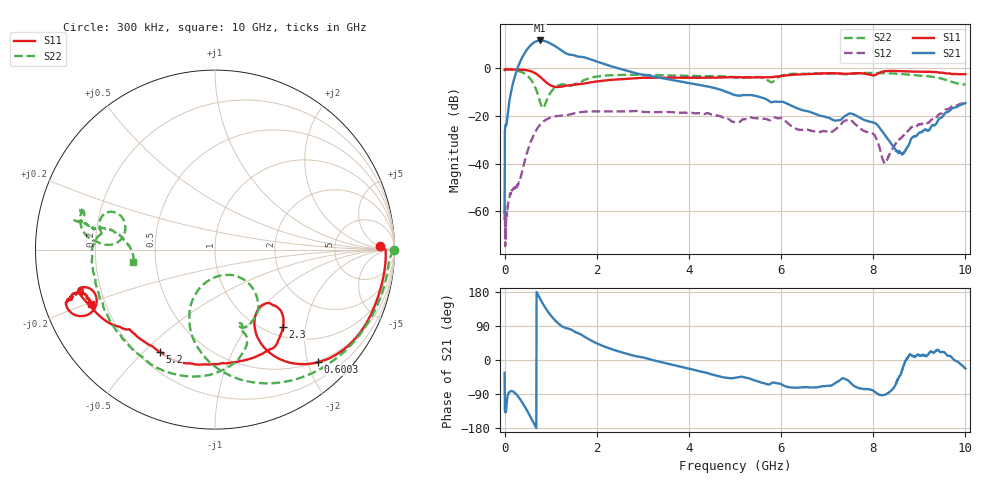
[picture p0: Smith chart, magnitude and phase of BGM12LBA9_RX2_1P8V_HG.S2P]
!Agilent Technologies,E5071C,MY46316587,B.13.01
!Date: Tue Sep 12 11:09:20 2017
!Data & Calibration Information:
!Freq	S11:SOLT2(ON)	S21:SOLT2(ON)	S12:SOLT2(ON)	S22:SOLT2(ON)
!PortZ  Port1:50+j0  Port2:50+j0
!Above PortZ is port z conversion or system Z0 setting when saving the data.
!When reading, reference impedance value at option line is always used.
# Hz S RI R 50
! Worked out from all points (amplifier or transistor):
!   1601 points, 300 kHz to 10 GHz, reference 50 ohm
!   highest |S21| = 11.7 dB at 775.3 MHz (marker M1)
!   |S21| within 3 dB of that: 519.3 MHz to 1.146 GHz (626.4 MHz wide, 75.2 % of centre)
!   unconditionally stable (mu >= 1): start of sweep to end of sweep
!   at 1.663 GHz: K = 1.61, MAG = 7.0 dB, |S12| = -18.3 dB
!   at 5 GHz: K = 8.42, MAG = -6.6 dB, |S12| = -22.5 dB
!   at 10 GHz: K = 4.63, MAG = -9.7 dB, |S12| = -14.4 dB
!   lowest NFmin = 0.67 dB at 900 MHz
!   S11 on the Smith chart (normalised r, x): 300 kHz: 23, +6; 600.3 MHz: 0.48, -2.18; 2.3 GHz: 1.18, -1.51; 5.2 GHz: 0.28, -0.56; 10 GHz: 0.14, -0.21
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300000  0.921 0.0216  0.000776 -0.000515  0.000249 -0.000621  0.9963 -0.00146
5.654831e7  0.9504 -0.0639  -0.0172 -0.087  -0.000251 0.00101  0.9532 -0.1622
1.315461e8  0.9382 -0.15  0.0376 -0.2887  3.89e-05 0.00226  0.8826 -0.3551
3.190404e8  0.8695 -0.36  -0.2272 -1.234  -0.00307 0.00265  0.5242 -0.6958
4.752858e8  0.7459 -0.5325  -1.566 -1.826  -0.0148 0.00476  0.1191 -0.7164
6.00282e8  0.5745 -0.6279  -3.058 -1.193  -0.0299 0.0168  -0.1127 -0.5162
6.877794e8  0.4321 -0.6332  -3.703 -0.0384  -0.0371 0.0346  -0.1382 -0.3234
7.752768e8  0.3117 -0.5804  -3.633 1.293  -0.0356 0.0562  -0.0511 -0.1828
8.940232e8  0.2284 -0.4673  -2.648 2.559  -0.0202 0.0809  0.1199 -0.1482
1.01277e9  0.2245 -0.3706  -1.427 2.926  0.00215 0.0939  0.2232 -0.2381
1.244013e9  0.2885 -0.2981  0.0435 2.359  0.038 0.0955  0.186 -0.4252
1.669e9  0.3469 -0.3207  0.6876 1.602  0.081 0.0904  0.1784 -0.4915
2.300231e9  0.3794 -0.4299  0.9724 0.5545  0.1145 0.05  -0.1179 -0.7073
3.3377e9  0.2739 -0.5744  0.6442 -0.0431  0.1209 0.00278  -0.4834 -0.5299
5.00015e9  -0.223 -0.6169  0.1875 -0.2011  0.0681 -0.0304  -0.6393 0.0835
5.200144e9  -0.309 -0.5695  0.193 -0.1977  0.0811 -0.0258  -0.6311 0.0932
6.66885e9  -0.7081 -0.3009  0.0354 -0.1125  0.0419 -0.0252  -0.7491 0.2122
7.493825e9  -0.741 -0.2375  0.0587 -0.0969  0.0718 -0.0419  -0.7402 0.1663
8.237553e9  -0.7923 -0.3582  -0.00146 -0.042  0.00962 -0.00463  -0.776 0.1618
8.33755e9  -0.8193 -0.332  0.00247 -0.0307  0.0131 0.00547  -0.7696 0.1583
8.65004e9  -0.8231 -0.2831  0.0155 -0.00514  0.0275 0.0274  -0.7424 0.1516
1e10  -0.6927 -0.3058  0.1719 -0.0712  0.1837 -0.0512  -0.4558 -0.0676
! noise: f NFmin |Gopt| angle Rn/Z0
6.5e+08  0.7405  0.4246  30.81  0.245
7e+08  0.7227  0.3671  31.05  0.1941
7.5e+08  0.7101  0.4508  33.1  0.1868
8e+08  0.6934  0.4509  36.39  0.2423
8.5e+08  0.6905  0.4345  40.76  0.1691
9e+08  0.6706  0.449  42.74  0.1736
9.5e+08  0.6707  0.4362  43.14  0.1729
1e+09  0.6806  0.4349  44.46  0.1728
